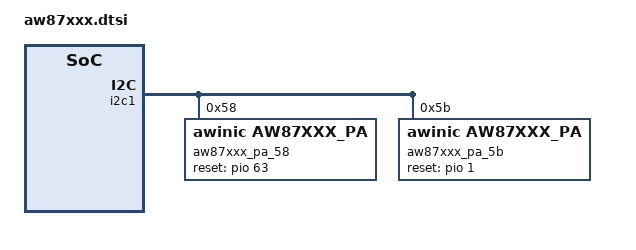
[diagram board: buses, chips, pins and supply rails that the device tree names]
&i2c1 {
/* AWINIC AW87XXX Smart K PA */
	aw87xxx_pa_58@58 {
		compatible = "awinic,aw87xxx_pa";
		reg = <0x58>;
		reset-gpio = <&pio 63 0>;
		pa-channel = < 0 >;
		status = "okay";
	};

	aw87xxx_pa_5b@5b {
		compatible = "awinic,aw87xxx_pa";
		reg = <0x5b>;
		reset-gpio = <&pio 1 0>;
		pa-channel = < 1 >;
		status = "okay";
	};


/* AWINIC AW87XXX Smart K PA End */
};
